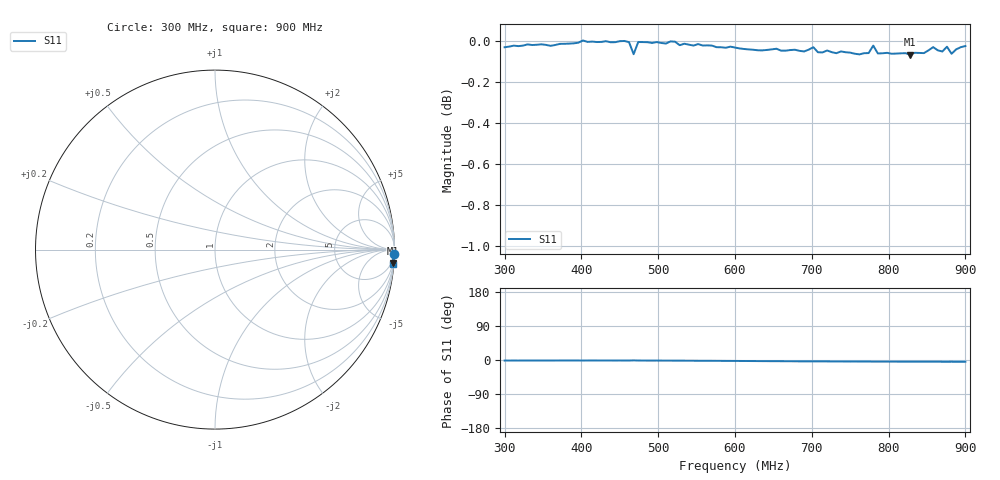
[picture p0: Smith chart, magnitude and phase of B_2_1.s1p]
# HZ S RI R 50
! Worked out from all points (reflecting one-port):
!   101 points, 300 MHz to 900 MHz, reference 50 ohm
!   lowest |S11| = -0.1 dB at 828 MHz (marker M1), VSWR 256.17, Z = 137 - j1.32e+03 ohm
!   phase of S11 starts at -1 deg and turns -3 deg over the sweep
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3e8  0.9959 -0.0257
3.78e8  0.998 -0.0224
4.02e8  0.9998 -0.0244
4.5e8  0.9994 -0.0232
4.62e8  0.9988 -0.0246
4.68e8  0.9923 -0.0172
4.74e8  0.9989 -0.0245
5.16e8  0.9992 -0.0284
5.28e8  0.997 -0.0304
6e8  0.9952 -0.0428
6.48e8  0.9936 -0.055
6.54e8  0.994 -0.0539
6.78e8  0.9931 -0.0597
7.02e8  0.9943 -0.0627
7.08e8  0.9914 -0.0638
7.5e8  0.9908 -0.0697
7.74e8  0.9905 -0.0716
7.8e8  0.9945 -0.073
7.86e8  0.9902 -0.0725
8.16e8  0.99 -0.0758
8.28e8  0.9894 -0.0745
8.34e8  0.9902 -0.0774
8.46e8  0.99 -0.0781
8.58e8  0.9932 -0.0793
8.7e8  0.9907 -0.08
8.76e8  0.9933 -0.0804
8.82e8  0.9895 -0.0794
9e8  0.9937 -0.0804
